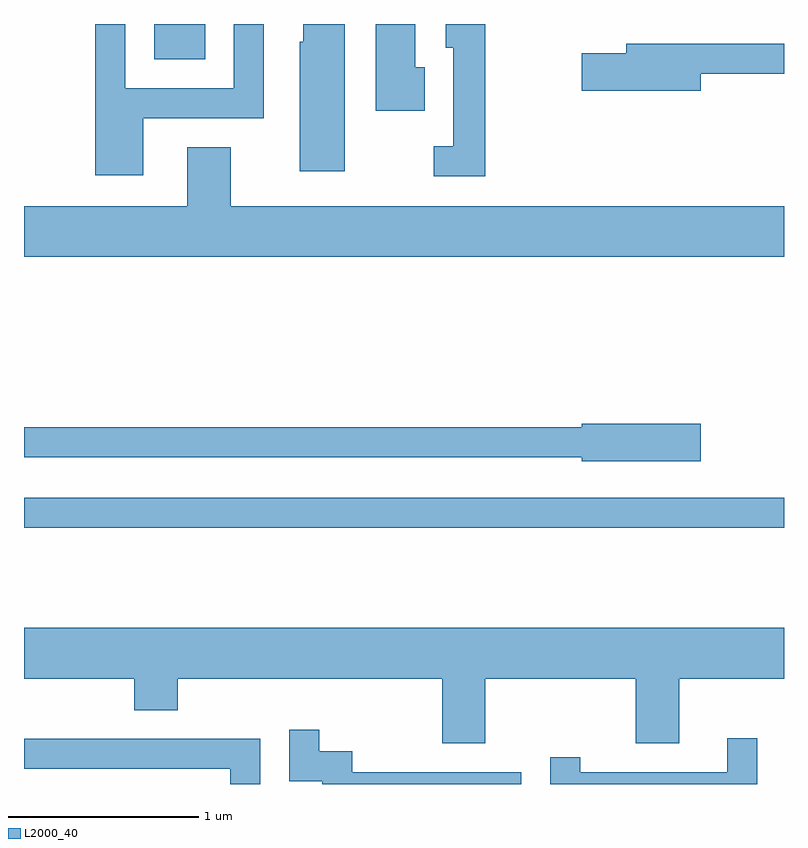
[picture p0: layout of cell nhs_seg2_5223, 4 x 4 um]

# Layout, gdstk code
import gdstk
lib = gdstk.Library(unit=1e-6, precision=1e-09)
def R(c, l, rs):  # rectangles x0, y0, x1, y1
    for r in rs: c.add(gdstk.rectangle(r[:2], r[2:], *l))
def P(c, l, *ps):  # polygons
    for p in ps: c.add(gdstk.Polygon(p, *l))
L2000_40 = (2000, 40)

nhs_seg2_5223 = lib.new_cell('nhs_seg2_5223')
R(nhs_seg2_5223, L2000_40, [(339.611,1009.151,343.611,1009.309), (340.296,1011.616,340.564,1011.802)])
P(nhs_seg2_5223, L2000_40, [(340.239,1011.306),(340.874,1011.306),(340.874,1011.802),(340.716,1011.802),(340.716,1011.464),(340.144,1011.464),(340.144,1011.802),(339.986,1011.802),(339.986,1011.006),(340.239,1011.006)],
  [(341.299,1011.802),(341.081,1011.802),(341.081,1011.709),(341.061,1011.709),(341.061,1011.026),(341.299,1011.026)],
  [(342.039,1011.802),(341.831,1011.802),(341.831,1011.676),(341.871,1011.676),(341.871,1011.159),(341.768,1011.159),(341.768,1011.001),(342.039,1011.001)],
  [(341.719,1011.574),(341.669,1011.574),(341.669,1011.802),(341.461,1011.802),(341.461,1011.346),(341.719,1011.346)],
  [(343.174,1011.541),(343.611,1011.541),(343.611,1011.699),(342.781,1011.699),(342.781,1011.649),(342.546,1011.649),(342.546,1011.451),(343.174,1011.451)],
  [(343.611,1010.844),(340.699,1010.844),(340.699,1011.154),(340.471,1011.154),(340.471,1010.844),(339.611,1010.844),(339.611,1010.576),(343.611,1010.576)],
  [(343.174,1009.699),(342.546,1009.699),(342.546,1009.679),(339.611,1009.679),(339.611,1009.521),(342.546,1009.521),(342.546,1009.501),(343.174,1009.501)],
  [(342.039,1008.356),(342.831,1008.356),(342.831,1008.016),(343.059,1008.016),(343.059,1008.356),(343.611,1008.356),(343.611,1008.624),(339.611,1008.624),(339.611,1008.356),(340.191,1008.356),(340.191,1008.191),(340.419,1008.191),(340.419,1008.356),(341.811,1008.356),(341.811,1008.016),(342.039,1008.016)],
  [(342.229,1007.864),(341.339,1007.864),(341.339,1007.974),(341.164,1007.974),(341.164,1008.088),(341.006,1008.088),(341.006,1007.816),(341.181,1007.816),(341.181,1007.802),(342.229,1007.802)],
  [(343.469,1008.043),(343.311,1008.043),(343.311,1007.864),(342.539,1007.864),(342.539,1007.943),(342.381,1007.943),(342.381,1007.802),(343.469,1007.802)],
  [(340.854,1008.039),(339.611,1008.039),(339.611,1007.881),(340.696,1007.881),(340.696,1007.802),(340.854,1007.802)])

lib.write_gds('nhs_seg2_5223.gds')
